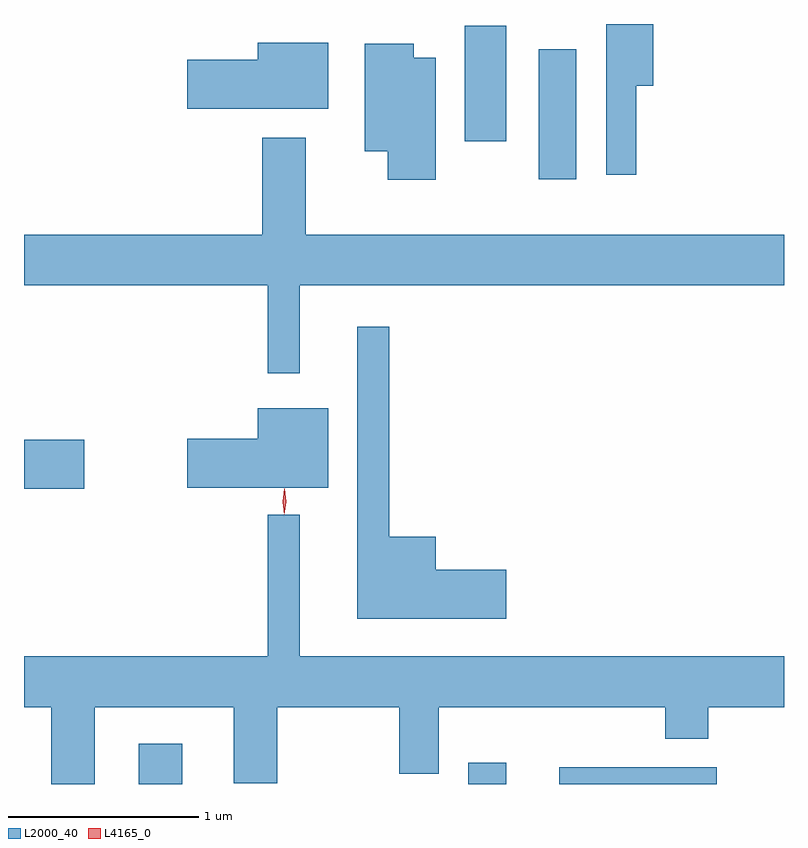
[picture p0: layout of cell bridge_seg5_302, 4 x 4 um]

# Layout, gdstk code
import gdstk
lib = gdstk.Library(unit=1e-6, precision=1e-09)
def R(c, l, rs):  # rectangles x0, y0, x1, y1
    for r in rs: c.add(gdstk.rectangle(r[:2], r[2:], *l))
def P(c, l, *ps):  # polygons
    for p in ps: c.add(gdstk.Polygon(p, *l))
L2000_40 = (2000, 40)
L4165_0 = (4165, 0)

bridge_seg5_302 = lib.new_cell('bridge_seg5_302')
R(bridge_seg5_302, L2000_40, [(670.511,1509.672,670.739,1509.884), (672.246,1509.672,672.444,1509.784), (672.723,1509.672,673.554,1509.759), (669.907,1511.226,670.224,1511.484), (672.616,1512.856,672.814,1513.539), (672.226,1513.056,672.444,1513.664)])
P(bridge_seg5_302, L2000_40, [(673.129,1513.346),(673.219,1513.346),(673.219,1513.672),(672.971,1513.672),(672.971,1512.878),(673.129,1512.878)],
  [(671.509,1513.574),(671.136,1513.574),(671.136,1513.484),(670.766,1513.484),(670.766,1513.226),(671.509,1513.226)],
  [(672.074,1513.494),(671.959,1513.494),(671.959,1513.569),(671.701,1513.569),(671.701,1513.001),(671.821,1513.001),(671.821,1512.851),(672.074,1512.851)],
  [(671.359,1512.296),(673.907,1512.296),(673.907,1512.564),(671.389,1512.564),(671.389,1513.074),(671.161,1513.074),(671.161,1512.564),(669.907,1512.564),(669.907,1512.296),(671.191,1512.296),(671.191,1511.833),(671.359,1511.833)],
  [(672.444,1510.799),(672.074,1510.799),(672.074,1510.974),(671.829,1510.974),(671.829,1512.078),(671.661,1512.078),(671.661,1510.541),(672.444,1510.541)],
  [(671.509,1511.649),(671.136,1511.649),(671.136,1511.489),(670.766,1511.489),(670.766,1511.231),(671.509,1511.231)],
  [(670.279,1510.076),(671.011,1510.076),(671.011,1509.676),(671.239,1509.676),(671.239,1510.076),(671.881,1510.076),(671.881,1509.726),(672.089,1509.726),(672.089,1510.076),(673.281,1510.076),(673.281,1509.911),(673.509,1509.911),(673.509,1510.076),(673.907,1510.076),(673.907,1510.344),(671.359,1510.344),(671.359,1511.088),(671.191,1511.088),(671.191,1510.344),(669.907,1510.344),(669.907,1510.076),(670.051,1510.076),(670.051,1509.672),(670.279,1509.672)])
P(bridge_seg5_302, L4165_0, [(671.276,1511.093),(671.268,1511.156),(671.278,1511.219),(671.279,1511.22),(671.279,1511.219),(671.288,1511.156),(671.278,1511.093),(671.277,1511.093)],
  [(671.276,1511.09),(671.268,1511.158),(671.278,1511.226),(671.278,1511.226),(671.279,1511.226),(671.288,1511.158),(671.278,1511.09),(671.277,1511.09)])

lib.write_gds('bridge_seg5_302.gds')
